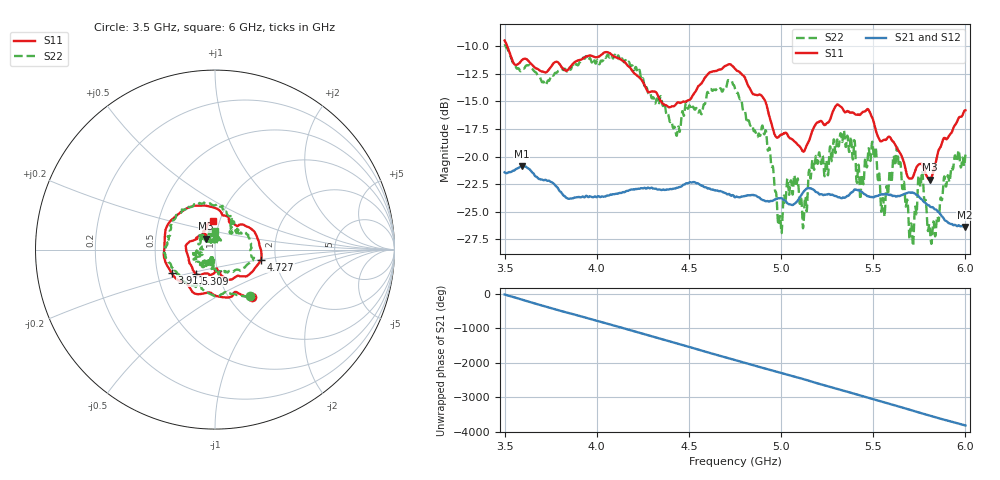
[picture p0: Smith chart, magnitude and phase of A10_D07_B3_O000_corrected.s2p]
! Created with skrf 1.9.0 (http://scikit-rf.org).
# Hz S RI R 50.0
!freq ReS11 ImS11 ReS21 ImS21 ReS12 ImS12 ReS22 ImS22
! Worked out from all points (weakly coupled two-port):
!   1601 points, 3.5 GHz to 6 GHz, reference 50 ohm
!   highest |S21| = -20.86 dB at 3.592 GHz (marker M1); lowest = -26.4 dB at 5.995 GHz (marker M2)
!   lowest |S11| = -22.1 dB at 5.806 GHz (marker M3), VSWR 1.17, Z = 45.1 + j5.61 ohm
!   |S11| at or under -10 dB: 3.515 GHz to end of sweep
!   |S22| runs from -28.1 to -9.8 dB; largest |S21 - S12| = 0.0011
!   S11 on the Smith chart (normalised r, x): 3.5 GHz: 1.27, -0.76; 3.911 GHz: 0.59, -0.17; 4.727 GHz: 1.67, -0.20; 5.309 GHz: 0.78, -0.22; 6 GHz: 0.93, +0.31
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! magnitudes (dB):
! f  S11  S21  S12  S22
! 3.5 GHz  -9.5  -21.4  -21.4  -9.8
! 3.592 GHz  -11.3  -20.9  -20.9  -12.2
! 3.911 GHz  -11.2  -23.7  -23.7  -11.4
! 3.917 GHz  -11.2  -23.7  -23.7  -11.3
! 4.334 GHz  -14.6  -23.0  -22.9  -15.2
! 4.441 GHz  -15.1  -22.8  -22.8  -17.4
! 4.727 GHz  -11.6  -23.5  -23.4  -13.2
! 4.75 GHz  -12.0  -23.7  -23.6  -13.8
! 4.909 GHz  -14.8  -24.0  -23.9  -18.0
! 4.994 GHz  -18.1  -23.8  -23.7  -25.4
! 5.08 GHz  -18.7  -24.2  -24.1  -22.6
! 5.128 GHz  -19.4  -23.1  -23.1  -24.1
! 5.167 GHz  -17.8  -22.9  -22.9  -20.7
! 5.309 GHz  -15.3  -23.7  -23.6  -18.8
! 5.553 GHz  -18.5  -23.4  -23.4  -23.8
! 5.584 GHz  -18.2  -23.5  -23.4  -22.5
! 5.638 GHz  -19.5  -23.6  -23.5  -20.7
! 5.708 GHz  -22.0  -23.3  -23.2  -26.2
! 5.758 GHz  -20.7  -23.8  -23.8  -22.6
! 5.806 GHz  -22.1  -24.5  -24.5  -26.3
! 5.995 GHz  -15.8  -26.4  -26.3  -20.7
! 6 GHz  -15.8  -26.3  -26.3  -19.8
